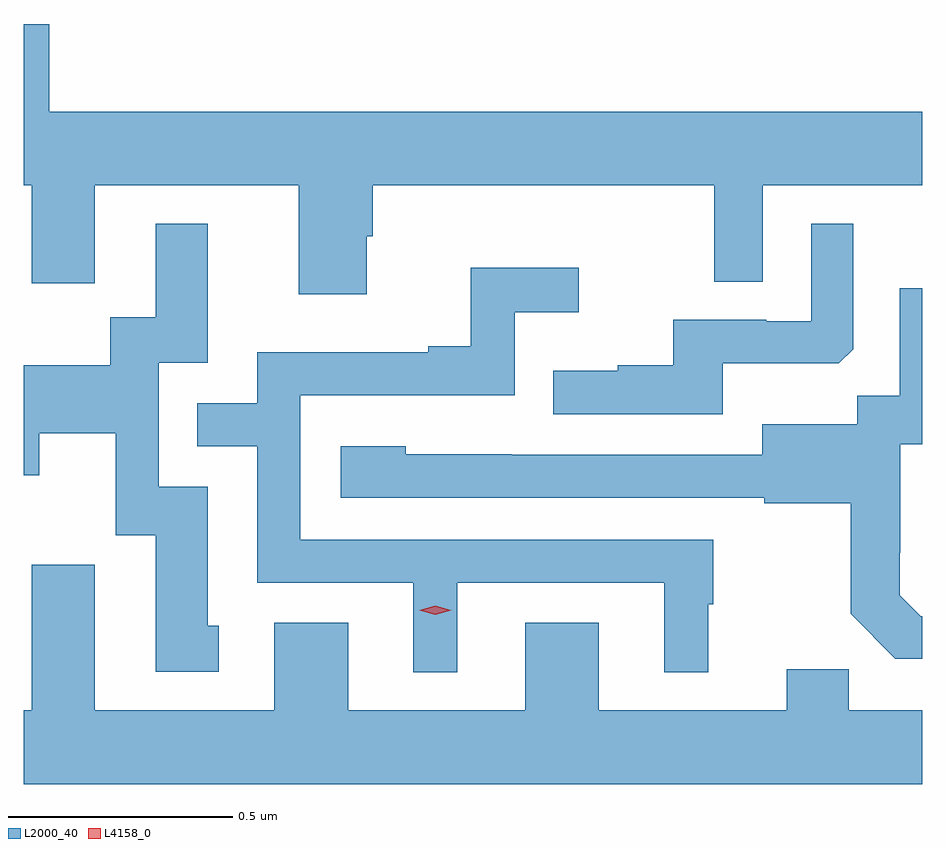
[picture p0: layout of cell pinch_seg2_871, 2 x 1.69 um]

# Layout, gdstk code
import gdstk
lib = gdstk.Library(unit=1e-6, precision=1e-09)
def P(c, l, *ps):  # polygons
    for p in ps: c.add(gdstk.Polygon(p, *l))
L2000_40 = (2000, 40)
L4158_0 = (4158, 0)

pinch_seg2_871 = lib.new_cell('pinch_seg2_871')
P(pinch_seg2_871, L2000_40, [(803.371,603.567),(803.384,603.567),(803.384,603.68),(804.144,603.68),(804.144,603.466),(804.252,603.466),(804.252,603.68),(804.607,603.68),(804.607,603.844),(802.664,603.844),(802.664,604.039),(802.607,604.039),(802.607,603.68),(802.625,603.68),(802.625,603.462),(802.765,603.462),(802.765,603.68),(803.219,603.68),(803.219,603.438),(803.371,603.438)],
  [(804.163,603.284),(804.421,603.284),(804.453,603.315),(804.453,603.595),(804.36,603.595),(804.36,603.378),(804.26,603.378),(804.26,603.381),(804.053,603.381),(804.053,603.28),(803.929,603.28),(803.929,603.268),(803.785,603.268),(803.785,603.171),(804.163,603.171)],
  [(803.041,602.7),(803.017,602.7),(803.017,603.009),(802.908,603.009),(802.908,603.285),(803.017,603.285),(803.017,603.595),(802.901,603.595),(802.901,603.386),(802.8,603.386),(802.8,603.28),(802.607,603.28),(802.607,603.035),(802.642,603.035),(802.642,603.128),(802.812,603.128),(802.812,602.901),(802.901,602.901),(802.901,602.598),(803.041,602.598)],
  [(803.572,602.796),(804.032,602.796),(804.032,602.597),(804.13,602.597),(804.13,602.748),(804.142,602.748),(804.142,602.892),(803.223,602.892),(803.223,603.213),(803.7,603.213),(803.7,603.398),(803.842,603.398),(803.842,603.497),(803.602,603.497),(803.602,603.322),(803.507,603.322),(803.507,603.309),(803.127,603.309),(803.127,603.195),(802.993,603.195),(802.993,603.099),(803.127,603.099),(803.127,602.796),(803.474,602.796),(803.474,602.597),(803.572,602.597)],
  [(804.607,602.721),(804.603,602.721),(804.556,602.768),(804.556,602.863),(804.558,602.863),(804.558,603.104),(804.607,603.104),(804.607,603.451),(804.557,603.451),(804.557,603.212),(804.462,603.212),(804.462,603.148),(804.251,603.148),(804.251,603.081),(803.693,603.081),(803.693,603.082),(803.457,603.082),(803.457,603.1),(803.313,603.1),(803.313,602.985),(804.255,602.985),(804.255,602.973),(804.447,602.973),(804.447,602.727),(804.547,602.627),(804.607,602.627)],
  [(802.625,602.836),(802.625,602.512),(802.607,602.512),(802.607,602.348),(804.607,602.348),(804.607,602.512),(804.443,602.512),(804.443,602.603),(804.305,602.603),(804.305,602.512),(803.887,602.512),(803.887,602.707),(803.723,602.707),(803.723,602.512),(803.329,602.512),(803.329,602.707),(803.165,602.707),(803.165,602.512),(802.765,602.512),(802.765,602.836)])
P(pinch_seg2_871, L4158_0, [(803.523,602.725),(803.487,602.735),(803.487,602.735),(803.487,602.735),(803.523,602.745),(803.559,602.735),(803.559,602.735),(803.559,602.735)])

lib.write_gds('pinch_seg2_871.gds')
